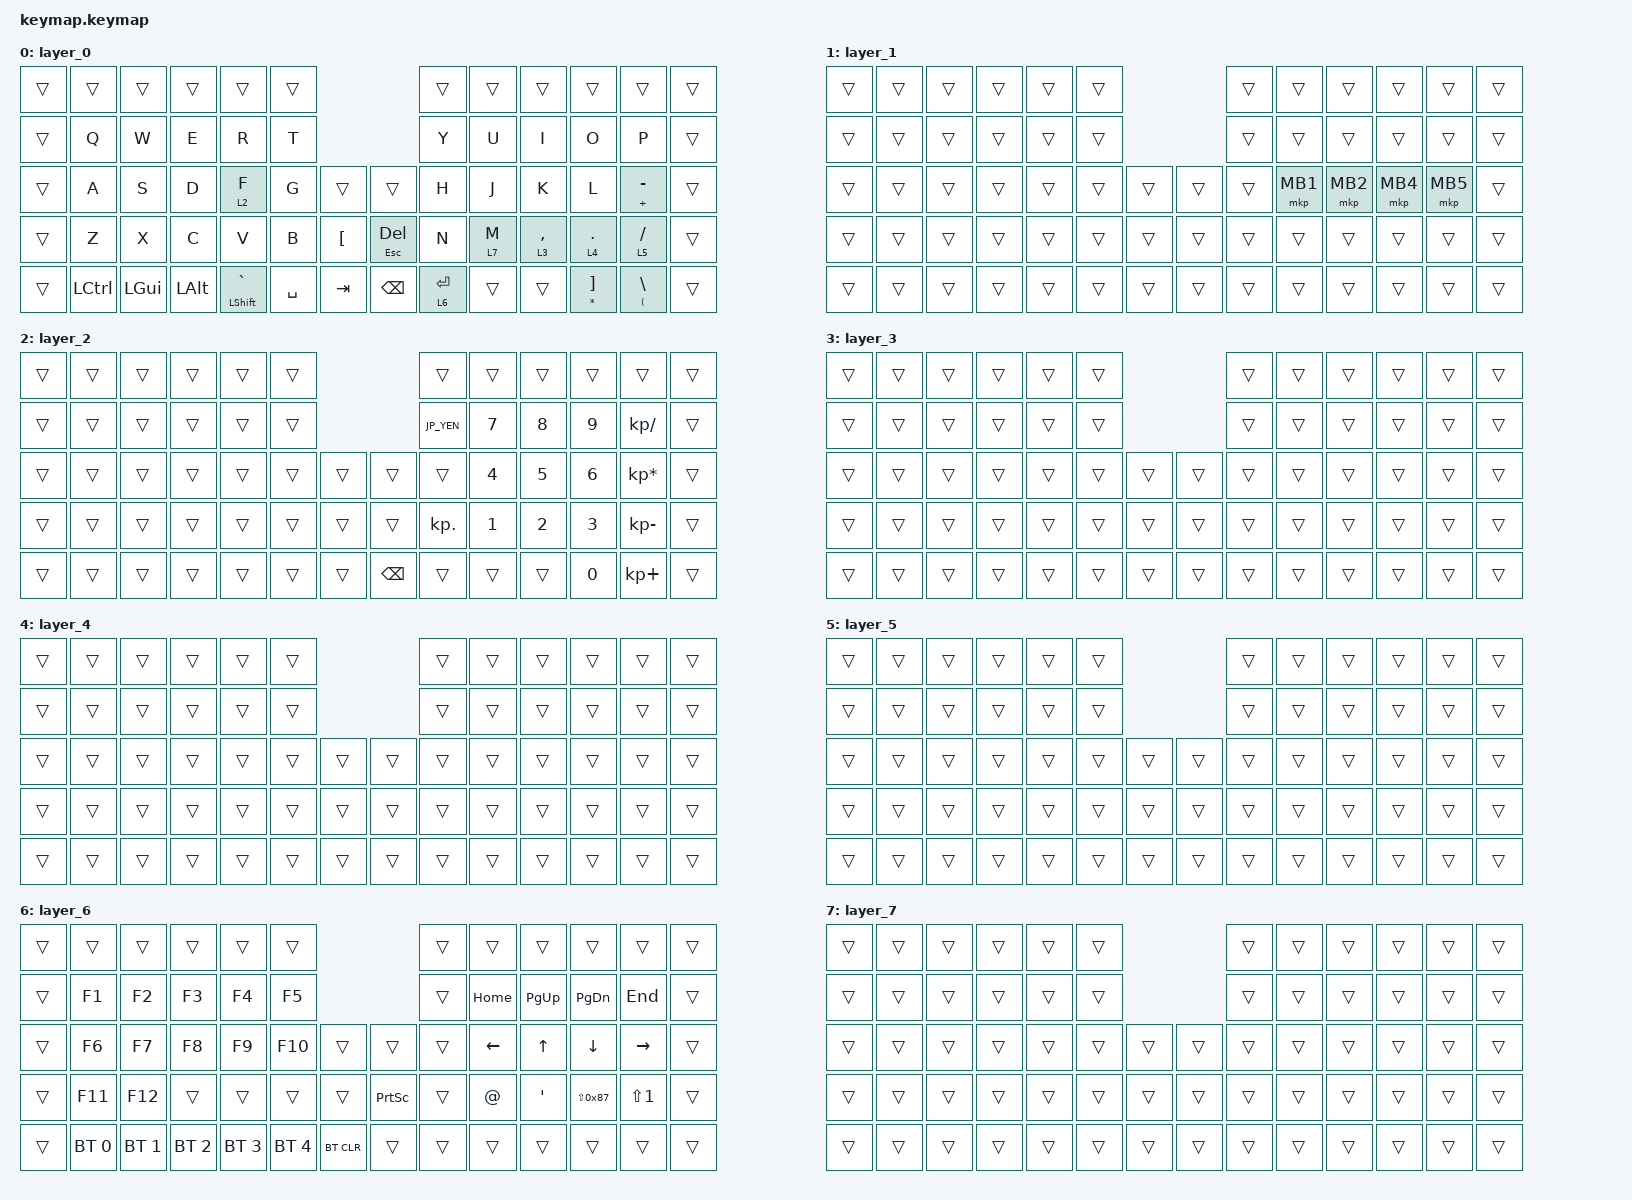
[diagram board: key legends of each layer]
#include <behaviors.dtsi>
#include <dt-bindings/zmk/bt.h>
#include <dt-bindings/zmk/keys.h>
#include <dt-bindings/zmk/outputs.h>
#include <dt-bindings/zmk/pointing.h>
// 必要なヘッダーファイルを読み込む
#include <input/processors.dtsi>
#include <dt-bindings/zmk/input_transform.h>
#include <mouse-gesture.dtsi>

// OS設定を日本語キーボードのまま使用するための変換定義

#define JP_DQUOTE       AT                // "
#define JP_AMPERSAND    CARET             // &
#define JP_QUOTE        AMPERSAND         // '
#define JP_EQUAL        UNDER             // =
#define JP_CARET        EQUAL             // ^
#define JP_YEN          0x89              // ¥
#define JP_PLUS         COLON             // +
#define JP_TILDE        PLUS              // ~
#define JP_PIPE         LS(0x89)          // |
#define JP_AT           LEFT_BRACKET      // @
#define JP_COLON        SINGLE_QUOTE      // :
#define JP_ASTERISK     DOUBLE_QUOTES     // *
#define JP_BACKQUOTE    LEFT_BRACE        // `
#define JP_UNDERSCORE   LS(0x87)          // _
#define JP_LBRACKET     RIGHT_BRACKET     // [
#define JP_RBRACKET     BACKSLASH         // ]
#define JP_LPAREN       ASTERISK          // (
#define JP_RPAREN       LEFT_PARENTHESIS  // )
#define JP_LBRACE       RIGHT_BRACE       // {
#define JP_RBRACE       PIPE              // }
#define JP_KANA         LANGUAGE_1        // かな
#define JP_EISU         LANGUAGE_2        // 英数
#define JP_HANZEN       GRAVE             // 半角/全角

/ {
    // 1. オートマウスレイヤー（AML）のプロセッサを新規作成
    zip_temp_layer: zip_temp_layer {
        compatible = "zmk,input-processor-temp-layer";
        #input-processor-cells = <2>;

        // 誤爆防止
        require-prior-idle-ms = <200>;

        // J, K, L, - など、クリック時にAMLを解除したくないキーのインデックス
        excluded-positions = <16 17 18 19>;
    };

    // ★ ここに追加: 移動量を 0 にスケーリング（無効化）するプロセッサ
    xy_zero: xy_zero {
        compatible = "zmk,input-processor-scaler";
        #input-processor-cells = <2>;
        type = <INPUT_EV_REL>;
        codes = <INPUT_REL_X>, <INPUT_REL_Y>;
    };
    // ウィンドウ操作ジェスチャー (レイヤー4用)
    window_gesture: window_gesture {
        compatible = "zmk,input-processor-mouse-gesture";
        #input-processor-cells = <0>;
        
        always-active;       // レイヤー有効時は常にジェスチャー状態にする
        enable-eager-mode;   // ジェスチャー入力後、即座に実行する

        maximize {
            pattern = <GESTURE_DOWN>; // UPからDOWNに変更
            bindings = <&kp LG(UP)>;
        };
        minimize {
            pattern = <GESTURE_UP>; // DOWNからUPに変更
            bindings = <&kp LG(DOWN)>;
        };
        snap_left {
            pattern = <GESTURE_RIGHT>; // LEFTからRIGHTに変更
            bindings = <&kp LG(LEFT)>;
        };
        snap_right {
            pattern = <GESTURE_LEFT>; // RIGHTからLEFTに変更
            bindings = <&kp LG(RIGHT)>;
        };
    };

    // タブ操作ジェスチャー (レイヤー5用)
    tab_gesture: tab_gesture {
        compatible = "zmk,input-processor-mouse-gesture";
        #input-processor-cells = <0>;
        
        always-active;       // レイヤー有効時は常にジェスチャー状態にする
        enable-eager-mode;   // ジェスチャー入力後、即座に実行する

        new_tab {
            pattern = <GESTURE_DOWN>; // UPからDOWNに変更
            bindings = <&kp LC(T)>;
        };
        close_tab {
            pattern = <GESTURE_UP>; // DOWNからUPに変更
            bindings = <&kp LC(W)>;
        };
        prev_tab {
            pattern = <GESTURE_RIGHT>; // LEFTからRIGHTに変更
            bindings = <&kp LC(LS(TAB))>;
        };
        next_tab {
            pattern = <GESTURE_LEFT>; // RIGHTからLEFTに変更
            bindings = <&kp LC(TAB)>;
        };
    };

    // 仮想デスクトップ操作ジェスチャー (レイヤー7用)
    vdesktop_gesture: vdesktop_gesture {
        compatible = "zmk,input-processor-mouse-gesture";
        #input-processor-cells = <0>;
        
        always-active;
        enable-eager-mode;

        // ↑ 新規デスクトップ (Ctrl + Win + D)
        new_desktop {
            pattern = <GESTURE_DOWN>; // UPからDOWNに変更
            bindings = <&kp LC(LG(D))>;
        };
        // ↓ 仮想デスク一覧 / タスクビュー (Win + Tab)
        task_view {
            pattern = <GESTURE_UP>; // DOWNからUPに変更
            bindings = <&kp LG(TAB)>;
        };
        // → 次のデスクトップ (Ctrl + Win + 右)
        next_desktop {
            pattern = <GESTURE_LEFT>; // RIGHTからLEFTに変更
            bindings = <&kp LC(LG(RIGHT))>;
        };
        // ← 前のデスクトップ (Ctrl + Win + 左)
        prev_desktop {
            pattern = <GESTURE_RIGHT>; // LEFTからRIGHTに変更
            bindings = <&kp LC(LG(LEFT))>;
        };
    };
};

// 2. 正しいリスナー「&pointing_listener」に設定を追加する
&pointing_listener {
    // ※ status や device はベースファイル（右手の.overlay）で
    // 既に設定されているため、ここに書く必要はありません。

    input-processors = 
        // 必須：元から設定されているカーソルの上下左右反転
        <&zip_xy_transform (INPUT_TRANSFORM_X_INVERT | INPUT_TRANSFORM_Y_INVERT)>,
        // 追記：ボールを動かしたらレイヤー1へ。10000ms後に解除
        <&zip_temp_layer 1 10000>;

    // 追記：レイヤー3の時はスクロールとして動作させる設定
    scroller {
        layers = <3>;
        input-processors = 
            <&zip_xy_to_scroll_mapper>,
            <&zip_scroll_transform INPUT_TRANSFORM_X_INVERT>,
            <&zip_scroll_scaler 1 16>;
    };
    window_gesture_layer {
        layers = <4>;
        // ★ input-processors に <&xy_zero 0 1> を追加
        input-processors = <&window_gesture>, <&xy_zero 0 1>;
    };

    tab_gesture_layer {
        layers = <5>;
        // ★ こちらも同様に追加
        input-processors = <&tab_gesture>, <&xy_zero 0 1>;
    };

    vdesktop_gesture_layer {
        layers = <7>;
        // レイヤー7にもジェスチャー追加
        input-processors = <&vdesktop_gesture>, <&xy_zero 0 1>;
    };
};

&mkp_input_listener {
    // マウスキーを押したらレイヤー1（マウスレイヤー）を250ms（0.25秒）延長と待機
    input-processors = <&zip_temp_layer 1 250>;

};

/ {
    combos {
        compatible = "zmk,combos";

        bt_clear {
            bindings = <&bt BT_CLR>;
            key-positions = <28 29>;
            layers = <2>;
        };
    };

    keymap {
        compatible = "zmk,keymap";

        layer_0 {
            bindings = <
&trans  &trans     &trans    &trans    &trans                   &trans                              &trans       &trans  &trans       &trans                      &trans                          &trans
&trans  &kp Q      &kp W     &kp E     &kp R                    &kp T                               &kp Y        &kp U   &kp I        &kp O                       &kp P                           &trans
&trans  &kp A      &kp S     &kp D     &lt 2 F                  &kp G    &trans     &trans          &kp H        &kp J   &kp K        &kp L                       &mt PLUS MINUS                  &trans
&trans  &kp Z      &kp X     &kp C     &kp V                    &kp B    &kp LEFT_BRACKET  &mt ESC DELETE  &kp N        &lt 7 M   &lt 3 COMMA  &lt 4 DOT                   &lt 5 SLASH                     &trans
&trans  &kp LCTRL  &kp LGUI  &kp LALT  &mt LSHIFT GRAVE  &kp SPACE  &kp TAB  &kp BACKSPACE   &lt 6 ENTER  &trans  &trans       &mt ASTERISK RIGHT_BRACKET  &mt JP_RPAREN JP_RBRACKET  &trans
            >;
        };

        layer_1 {
            bindings = <
&trans  &trans  &trans  &trans  &trans  &trans                  &trans  &trans    &trans    &trans    &trans    &trans
&trans  &trans  &trans  &trans  &trans  &trans                  &trans  &trans    &trans    &trans    &trans    &trans
&trans  &trans  &trans  &trans  &trans  &trans  &trans  &trans  &trans  &mkp MB1  &mkp MB2  &mkp MB4  &mkp MB5  &trans
&trans  &trans  &trans  &trans  &trans  &trans  &trans  &trans  &trans  &trans    &trans    &trans    &trans    &trans
&trans  &trans  &trans  &trans  &trans  &trans  &trans  &trans  &trans  &trans    &trans    &trans    &trans    &trans
            >;
        };

        layer_2 {
            bindings = <
&trans  &trans  &trans  &trans  &trans  &trans                  &trans      &trans        &trans        &trans        &trans           &trans
&trans  &trans  &trans  &trans  &trans  &trans                  &kp JP_YEN  &kp NUMBER_7  &kp NUMBER_8  &kp NUMBER_9  &kp KP_SLASH     &trans
&trans  &trans  &trans  &trans  &trans  &trans  &trans  &trans  &trans      &kp NUMBER_4  &kp NUMBER_5  &kp NUMBER_6  &kp KP_ASTERISK  &trans
&trans  &trans  &trans  &trans  &trans  &trans  &trans  &trans  &kp KP_DOT  &kp NUMBER_1  &kp NUMBER_2  &kp NUMBER_3  &kp KP_MINUS     &trans
&trans  &trans  &trans  &trans  &trans  &trans  &trans  &kp BACKSPACE  &trans     &trans        &trans        &kp NUMBER_0  &kp KP_PLUS      &trans
            >;
        };

        layer_3 {
            bindings = <
&trans  &trans  &trans  &trans  &trans  &trans                  &trans  &trans  &trans  &trans  &trans  &trans
&trans  &trans  &trans  &trans  &trans  &trans                  &trans  &trans  &trans  &trans  &trans  &trans
&trans  &trans  &trans  &trans  &trans  &trans  &trans  &trans  &trans  &trans  &trans  &trans  &trans  &trans
&trans  &trans  &trans  &trans  &trans  &trans  &trans  &trans  &trans  &trans  &trans  &trans  &trans  &trans
&trans  &trans  &trans  &trans  &trans  &trans  &trans  &trans  &trans  &trans  &trans  &trans  &trans  &trans
            >;
        };

        layer_4 {
            bindings = <
&trans  &trans  &trans  &trans  &trans  &trans                  &trans  &trans  &trans  &trans  &trans  &trans
&trans  &trans  &trans  &trans  &trans  &trans                  &trans  &trans  &trans  &trans  &trans  &trans
&trans  &trans  &trans  &trans  &trans  &trans  &trans  &trans  &trans  &trans  &trans  &trans  &trans  &trans
&trans  &trans  &trans  &trans  &trans  &trans  &trans  &trans  &trans  &trans  &trans  &trans  &trans  &trans
&trans  &trans  &trans  &trans  &trans  &trans  &trans  &trans  &trans  &trans  &trans  &trans  &trans  &trans
            >;
        };

        layer_5 {
            bindings = <
&trans  &trans  &trans  &trans  &trans  &trans                  &trans  &trans  &trans  &trans  &trans  &trans
&trans  &trans  &trans  &trans  &trans  &trans                  &trans  &trans  &trans  &trans  &trans  &trans
&trans  &trans  &trans  &trans  &trans  &trans  &trans  &trans  &trans  &trans  &trans  &trans  &trans  &trans
&trans  &trans  &trans  &trans  &trans  &trans  &trans  &trans  &trans  &trans  &trans  &trans  &trans  &trans
&trans  &trans  &trans  &trans  &trans  &trans  &trans  &trans  &trans  &trans  &trans  &trans  &trans  &trans
            >;
        };

        layer_6 {
            bindings = <
&trans  &trans        &trans        &trans        &trans        &trans                                     &trans  &trans          &trans            &trans             &trans            &trans
&trans  &kp F1        &kp F2        &kp F3        &kp F4        &kp F5                                     &trans  &kp HOME        &kp PAGE_UP       &kp PAGE_DOWN      &kp END           &trans
&trans  &kp F6        &kp F7        &kp F8        &kp F9        &kp F10       &trans      &trans           &trans  &kp LEFT_ARROW  &kp UP_ARROW      &kp DOWN_ARROW     &kp RIGHT_ARROW   &trans
&trans  &kp F11       &kp F12       &trans        &trans        &trans        &trans      &kp PRINTSCREEN  &trans  &kp AT          &kp SINGLE_QUOTE  &kp JP_UNDERSCORE  &kp LS(NUMBER_1)  &trans
&trans  &bt BT_SEL 0  &bt BT_SEL 1  &bt BT_SEL 2  &bt BT_SEL 3  &bt BT_SEL 4  &bt BT_CLR  &trans           &trans  &trans          &trans            &trans             &trans            &trans
            >;
        };

        layer_7 {
            bindings = <
&trans  &trans  &trans  &trans  &trans  &trans                  &trans  &trans  &trans  &trans  &trans  &trans
&trans  &trans  &trans  &trans  &trans  &trans                  &trans  &trans  &trans  &trans  &trans  &trans
&trans  &trans  &trans  &trans  &trans  &trans  &trans  &trans  &trans  &trans  &trans  &trans  &trans  &trans
&trans  &trans  &trans  &trans  &trans  &trans  &trans  &trans  &trans  &trans  &trans  &trans  &trans  &trans
&trans  &trans  &trans  &trans  &trans  &trans  &trans  &trans  &trans  &trans  &trans  &trans  &trans  &trans
            >;
        };
    };
};
